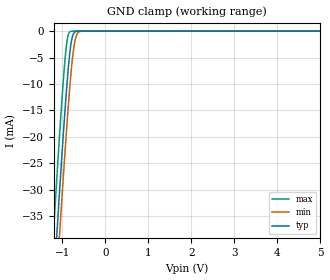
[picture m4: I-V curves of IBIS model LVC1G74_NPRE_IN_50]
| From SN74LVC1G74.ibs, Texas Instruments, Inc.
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[Model]   LVC1G74_NPRE_IN_50
Model_type  Input
Vinl=1.35
Vinh=3.85
| variable   typ   min   max
C_comp   3.21pF   2.51pF   4.30pF
[Temperature Range]   40   100   -40
| Ambient temperature   25   85   -40
[Voltage range]   5   4.5   5.5
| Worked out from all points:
|   GND clamp passes 1 mA (typ) near -0.77 V on its own axis
[GND Clamp]
| LVC1G74_NPRE_IN_50
|   Voltage   I(typ)   I(min)   I(max)
-5.5V     -655.2mA   -662.2mA   -646.6mA
-1.215V   -49.6mA    -57.88mA   -38.96mA
-1.135V   -39.07mA   -47.36mA   -28.42mA
-1.115V   -36.48mA   -44.76mA   -25.84mA
-1.055V   -28.82mA   -37.05mA   -18.27mA
-915mV    -12.21mA   -19.95mA   -3.333mA
-870mV    -7.651mA   -14.9mA    -891.1uA
-815mV    -3.252mA   -9.299mA   -87.06uA
-770mV    -1.128mA   -5.445mA   -10.73uA
-705mV    -146.7uA   -1.723mA   -505nA
-575mV    -1.597uA   -52.97uA   -1.117nA
5V        9.69pA     12.83pA    9.218pA
